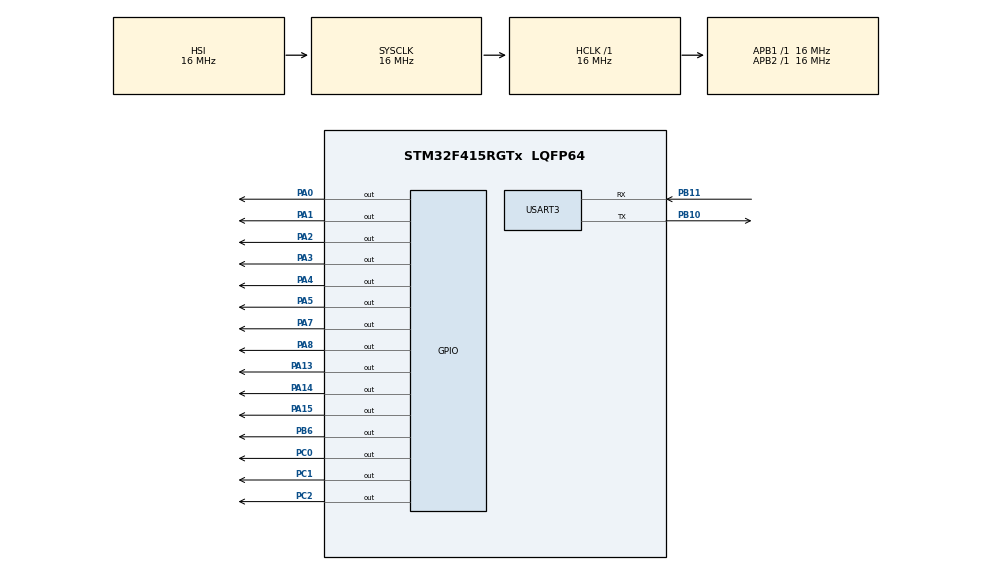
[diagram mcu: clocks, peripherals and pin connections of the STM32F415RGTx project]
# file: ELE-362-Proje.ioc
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Mcu.Family=STM32F4
Mcu.Name=STM32F415RGTx
Mcu.Package=LQFP64
NVIC.PriorityGroup=NVIC_PRIORITYGROUP_4
NVIC.USART3_IRQn=true\:0\:0\:false\:false\:true\:true\:true\:true
PA0-WKUP.Signal=GPIO_Output
PA1.Signal=GPIO_Output
PA13.Signal=GPIO_Output
PA14.Signal=GPIO_Output
PA15.Signal=GPIO_Output
PA2.Signal=GPIO_Output
PA3.Signal=GPIO_Output
PA4.Signal=GPIO_Output
PA5.Signal=GPIO_Output
PA7.Signal=GPIO_Output
PA8.Signal=GPIO_Output
PB10.Mode=Asynchronous
PB10.Signal=USART3_TX
PB11.Mode=Asynchronous
PB11.Signal=USART3_RX
PB6.Signal=GPIO_Output
PC0.Signal=GPIO_Output
PC1.Signal=GPIO_Output
PC2.Signal=GPIO_Output
ProjectManager.HeapSize=0x200
ProjectManager.StackSize=0x400
ProjectManager.TargetToolchain=MDK-ARM V5.27
RCC.AHBFreq_Value=16000000
RCC.APB1Freq_Value=16000000
RCC.APB2Freq_Value=16000000
RCC.CortexFreq_Value=16000000
RCC.HSE_VALUE=25000000
RCC.HSI_VALUE=16000000
RCC.LSE_VALUE=32768
RCC.SYSCLKFreq_VALUE=16000000
RCC.VCOOutputFreq_Value=192000000
USART3.VirtualMode=VM_ASYNC
board=custom

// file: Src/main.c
/* USER CODE BEGIN Header */
/**
  ******************************************************************************
  * @file           : main.c
  * @brief          : Main program body
  ******************************************************************************
  * @attention
  *
  * Copyright (c) 2023 STMicroelectronics.
  * All rights reserved.
  *
  * This software is licensed under terms that can be found in the LICENSE file
  * in the root directory of this software component.
  * If no LICENSE file comes with this software, it is provided AS-IS.
  *
  ******************************************************************************
  */
/* USER CODE END Header */
#include "main.h"
#include "dwt_delay.h"
#include "Nokia_5110.h"
#include "circular_buffer.h"
#include <stdio.h>
#include <stdbool.h>
#include <string.h>

/* USER CODE BEGIN PTD */
typedef enum{
    STATE_HEADER,
    STATE_LENGTH1,
    STATE_LENGTH2,
    STATE_ID,
    STATE_DATA,
    STATE_FINISH,
    STATE_CHECKSUM,
		STATE_ERROR,
    STATE_DONE
} State;

union FloatConverter {
  float f;
  struct {
    uint8_t b3;
    uint8_t b2;
    uint8_t b1;
    uint8_t b0;
  } bytes;
};
/* USER CODE END PTD */

/* USER CODE BEGIN PD */
#define BUFFER_SIZE 64
/* USER CODE END PD */

UART_HandleTypeDef huart3;

/* USER CODE BEGIN PV */
State currentState = STATE_HEADER;

CircularBuffer circularBuffer;
uint8_t bufferArray[BUFFER_SIZE];

uint8_t length1;
uint8_t length2;
uint16_t length;

uint8_t recieved;

uint8_t id;
uint16_t checkSumTotal;
uint32_t index;
/* USER CODE END PV */

void SystemClock_Config(void);
static void MX_GPIO_Init(void);
static void MX_USART3_UART_Init(void);

_Bool checkSum(CircularBuffer *ptr);
void clearBuffer(CircularBuffer *ptr);

void toggleLEDs(CircularBuffer *ptr);
void printToGLCD(CircularBuffer *ptr);
void arithmeticCommandTransmit(CircularBuffer *ptr, uint8_t id);

int main(void)
{

  /* MCU Configuration--------------------------------------------------------*/

  /* Reset of all peripherals, Initializes the Flash interface and the Systick. */
  HAL_Init();

  /* Configure the system clock */
  SystemClock_Config();

  /* Initialize all configured peripherals */
  MX_GPIO_Init();
  MX_USART3_UART_Init();
  /* USER CODE BEGIN 2 */
	DWT_Init();
	NOKIA_Init();

	arrangeCircularBuffer(&circularBuffer, bufferArray, BUFFER_SIZE);
	HAL_UART_Receive_IT(&huart3, &recieved, 1);
  /* USER CODE END 2 */

  /* Infinite loop */
  while (1)
  {

  }
}

void SystemClock_Config(void)
{
  RCC_OscInitTypeDef RCC_OscInitStruct = {0};
  RCC_ClkInitTypeDef RCC_ClkInitStruct = {0};

  /** Configure the main internal regulator output voltage
  */
  __HAL_RCC_PWR_CLK_ENABLE();
  __HAL_PWR_VOLTAGESCALING_CONFIG(PWR_REGULATOR_VOLTAGE_SCALE1);

  /** Initializes the RCC Oscillators according to the specified parameters
  * in the RCC_OscInitTypeDef structure.
  */
  RCC_OscInitStruct.OscillatorType = RCC_OSCILLATORTYPE_HSI;
  RCC_OscInitStruct.HSIState = RCC_HSI_ON;
  RCC_OscInitStruct.HSICalibrationValue = RCC_HSICALIBRATION_DEFAULT;
  RCC_OscInitStruct.PLL.PLLState = RCC_PLL_NONE;
  if (HAL_RCC_OscConfig(&RCC_OscInitStruct) != HAL_OK)
  {
    Error_Handler();
  }

  /** Initializes the CPU, AHB and APB buses clocks
  */
  RCC_ClkInitStruct.ClockType = RCC_CLOCKTYPE_HCLK|RCC_CLOCKTYPE_SYSCLK
                              |RCC_CLOCKTYPE_PCLK1|RCC_CLOCKTYPE_PCLK2;
  RCC_ClkInitStruct.SYSCLKSource = RCC_SYSCLKSOURCE_HSI;
  RCC_ClkInitStruct.AHBCLKDivider = RCC_SYSCLK_DIV1;
  RCC_ClkInitStruct.APB1CLKDivider = RCC_HCLK_DIV1;
  RCC_ClkInitStruct.APB2CLKDivider = RCC_HCLK_DIV1;

  if (HAL_RCC_ClockConfig(&RCC_ClkInitStruct, FLASH_LATENCY_0) != HAL_OK)
  {
    Error_Handler();
  }
}

static void MX_USART3_UART_Init(void)
{

  huart3.Instance = USART3;
  huart3.Init.BaudRate = 115200;
  huart3.Init.WordLength = UART_WORDLENGTH_8B;
  huart3.Init.StopBits = UART_STOPBITS_1;
  huart3.Init.Parity = UART_PARITY_NONE;
  huart3.Init.Mode = UART_MODE_TX_RX;
  huart3.Init.HwFlowCtl = UART_HWCONTROL_NONE;
  huart3.Init.OverSampling = UART_OVERSAMPLING_16;
  if (HAL_UART_Init(&huart3) != HAL_OK)
  {
    Error_Handler();
  }

}

static void MX_GPIO_Init(void)
{
  GPIO_InitTypeDef GPIO_InitStruct = {0};

  /* GPIO Ports Clock Enable */
  __HAL_RCC_GPIOC_CLK_ENABLE();
  __HAL_RCC_GPIOA_CLK_ENABLE();
  __HAL_RCC_GPIOB_CLK_ENABLE();

  /*Configure GPIO pin Output Level */
  HAL_GPIO_WritePin(GPIOC, GPIO_PIN_0|GPIO_PIN_1|GPIO_PIN_2, GPIO_PIN_RESET);

  /*Configure GPIO pin Output Level */
  HAL_GPIO_WritePin(GPIOA, GPIO_PIN_0|GPIO_PIN_1|GPIO_PIN_2|GPIO_PIN_3
                          |GPIO_PIN_4|GPIO_PIN_5|GPIO_PIN_7|GPIO_PIN_8
                          |GPIO_PIN_13|GPIO_PIN_14|GPIO_PIN_15, GPIO_PIN_RESET);

  /*Configure GPIO pin Output Level */
  HAL_GPIO_WritePin(GPIOB, GPIO_PIN_6, GPIO_PIN_RESET);

  /*Configure GPIO pins : PC0 PC1 PC2 */
  GPIO_InitStruct.Pin = GPIO_PIN_0|GPIO_PIN_1|GPIO_PIN_2;
  GPIO_InitStruct.Mode = GPIO_MODE_OUTPUT_PP;
  GPIO_InitStruct.Pull = GPIO_NOPULL;
  GPIO_InitStruct.Speed = GPIO_SPEED_FREQ_LOW;
  HAL_GPIO_Init(GPIOC, &GPIO_InitStruct);

  /*Configure GPIO pins : PA0 PA1 PA2 PA3
                           PA4 PA5 PA7 PA8
                           PA13 PA14 PA15 */
  GPIO_InitStruct.Pin = GPIO_PIN_0|GPIO_PIN_1|GPIO_PIN_2|GPIO_PIN_3
                          |GPIO_PIN_4|GPIO_PIN_5|GPIO_PIN_7|GPIO_PIN_8
                          |GPIO_PIN_13|GPIO_PIN_14|GPIO_PIN_15;
  GPIO_InitStruct.Mode = GPIO_MODE_OUTPUT_PP;
  GPIO_InitStruct.Pull = GPIO_NOPULL;
  GPIO_InitStruct.Speed = GPIO_SPEED_FREQ_LOW;
  HAL_GPIO_Init(GPIOA, &GPIO_InitStruct);

  /*Configure GPIO pin : PB6 */
  GPIO_InitStruct.Pin = GPIO_PIN_6;
  GPIO_InitStruct.Mode = GPIO_MODE_OUTPUT_PP;
  GPIO_InitStruct.Pull = GPIO_NOPULL;
  GPIO_InitStruct.Speed = GPIO_SPEED_FREQ_LOW;
  HAL_GPIO_Init(GPIOB, &GPIO_InitStruct);

}

/* USER CODE BEGIN 4 */
void HAL_UART_RxCpltCallback(UART_HandleTypeDef *huart){
	HAL_UART_Receive_IT(&huart3, &recieved, 1);

	switch(currentState){
		case STATE_HEADER:
			length = 0;
			index = 0;
			checkSumTotal = 0;
			if(recieved == 0xAB){
				pushItemToBuff(&circularBuffer, recieved);
				currentState = STATE_LENGTH1;
				index++;
			}
			break;
		case STATE_LENGTH1:
			pushItemToBuff(&circularBuffer, recieved);
			length1 = recieved;
			currentState = STATE_LENGTH2;
			index++;
			break;
		case STATE_LENGTH2:
			pushItemToBuff(&circularBuffer, recieved);
			length2 = recieved;
			length = (length1 << 8) | length2;
			currentState = STATE_ID;
			index++;
			break;
		case STATE_ID:
			pushItemToBuff(&circularBuffer, recieved);
			id = recieved;
			currentState = STATE_DATA;
			index++;
			break;
		case STATE_DATA:
			pushItemToBuff(&circularBuffer, recieved);
			index++;
			if(index == 4 + length){
				currentState = STATE_FINISH;
			}
			break;
		case STATE_FINISH:
			pushItemToBuff(&circularBuffer, recieved);
			index++;
			if(recieved == 0xBA){
				currentState = STATE_CHECKSUM;
			} else {
				currentState = STATE_ERROR;
			}
			break;
		case STATE_CHECKSUM:
			pushItemToBuff(&circularBuffer, recieved);
			if(checkSum(&circularBuffer)){
				currentState = STATE_DONE;
			} else {
				currentState = STATE_ERROR;
			}
			index++;
			break;
		case STATE_ERROR:
			currentState = STATE_HEADER;
			clearBuffer(&circularBuffer);
			break;
		case STATE_DONE:
			if(id == 0x01){
				toggleLEDs(&circularBuffer);
			} else if(id == 0x02){
				printToGLCD(&circularBuffer);
			} else {
				arithmeticCommandTransmit(&circularBuffer, id);
			}
			currentState = STATE_HEADER;
			clearBuffer(&circularBuffer);
			break;
	}
}

_Bool checkSum(CircularBuffer *ptr){
	uint8_t item;
  uint8_t index;

	for (index = 0; index < length + 3; index++){
		pickItemFromBuff(ptr, &item, index + 3);

    if (index + 3 != length + 4){
			checkSumTotal += item;
    }
	}
	return ((((checkSumTotal >> 8)+checkSumTotal)&0xFF) == 0xFF);
}

void toggleLEDs(CircularBuffer *ptr){
  uint8_t dataLEDs;
  uint8_t durationLEDs;

	pickItemFromBuff(ptr, &dataLEDs, 4);
  pickItemFromBuff(ptr, &durationLEDs, 5);

  HAL_GPIO_WritePin(GPIOC, GPIO_PIN_2, (dataLEDs & 0x01) ? GPIO_PIN_SET : GPIO_PIN_RESET);
  HAL_GPIO_WritePin(GPIOC, GPIO_PIN_0, (dataLEDs & 0x02) ? GPIO_PIN_SET : GPIO_PIN_RESET);
  HAL_GPIO_WritePin(GPIOA, GPIO_PIN_2, (dataLEDs & 0x04) ? GPIO_PIN_SET : GPIO_PIN_RESET);
  HAL_GPIO_WritePin(GPIOA, GPIO_PIN_0, (dataLEDs & 0x08) ? GPIO_PIN_SET : GPIO_PIN_RESET);
  HAL_GPIO_WritePin(GPIOA, GPIO_PIN_8, (dataLEDs & 0x10) ? GPIO_PIN_SET : GPIO_PIN_RESET);
  HAL_GPIO_WritePin(GPIOC, GPIO_PIN_1, (dataLEDs & 0x20) ? GPIO_PIN_SET : GPIO_PIN_RESET);
  HAL_GPIO_WritePin(GPIOA, GPIO_PIN_3, (dataLEDs & 0x40) ? GPIO_PIN_SET : GPIO_PIN_RESET);
  HAL_GPIO_WritePin(GPIOA, GPIO_PIN_1, (dataLEDs & 0x80) ? GPIO_PIN_SET : GPIO_PIN_RESET);

  DWT_Delay(durationLEDs * 1000000);

	HAL_GPIO_WritePin(GPIOC, GPIO_PIN_2, GPIO_PIN_RESET);
  HAL_GPIO_WritePin(GPIOC, GPIO_PIN_0, GPIO_PIN_RESET);
  HAL_GPIO_WritePin(GPIOA, GPIO_PIN_2, GPIO_PIN_RESET);
  HAL_GPIO_WritePin(GPIOA, GPIO_PIN_0, GPIO_PIN_RESET);
  HAL_GPIO_WritePin(GPIOA, GPIO_PIN_8, GPIO_PIN_RESET);
  HAL_GPIO_WritePin(GPIOC, GPIO_PIN_1, GPIO_PIN_RESET);
  HAL_GPIO_WritePin(GPIOA, GPIO_PIN_3, GPIO_PIN_RESET);
  HAL_GPIO_WritePin(GPIOA, GPIO_PIN_1, GPIO_PIN_RESET);
}

void printToGLCD(CircularBuffer *ptr){
	uint8_t i;
	uint8_t item;
	uint8_t row;
  uint8_t column;

	char temp[length];

  pickItemFromBuff(ptr, &item, 4);

  if (length == 1 && item == 0xFF){
		NOKIA_Clear();
	}
  else{
		pickItemFromBuff(ptr, &row, 4);

    pickItemFromBuff(ptr, &column, 5);

    for (i = 0; i < length; i++){
			pickItemFromBuff(ptr, &item, i + 4);
			temp[i] = item;
		}
		NOKIA_Out(row, column, temp);
	}
}

void arithmeticCommandTransmit(CircularBuffer *ptr, uint8_t id){
	uint8_t i, item;
  float result;
  union FloatConverter converter;

	if(id == 0x03 || id == 0x04 || id == 0x05 || id == 0x06){
		pickItemFromBuff(ptr, &item, 4);
		result = (float)item;
	} else {
		for(i=0;i<length;i++){
			pickItemFromBuff(ptr, &item, 4+i);
			HAL_UART_Transmit(&huart3, &item, 1, 10);
		}
	}

  for (i = 0; i < length - 1; i++){
		pickItemFromBuff(ptr, &item, i + 5);
    if (id == 0x03){
			result += (float)item;
    }
    else if (id == 0x04){
			result -= (float)item;
    }
    else if (id == 0x05){
			result *= (float)item;
		}
    else if (id == 0x06){
      result /= (float)item;
    }
	}

	if(id == 0x03 || id == 0x04 || id == 0x05 || id == 0x06){
		converter.f = result;
		uint32_t bigEndianValue =
      ((uint32_t)converter.bytes.b3 << 24) | ((uint32_t)converter.bytes.b2 << 16) | ((uint32_t)converter.bytes.b1 << 8) |
      ((uint32_t)converter.bytes.b0);

		HAL_UART_Transmit(&huart3, (uint8_t*)&bigEndianValue, sizeof(bigEndianValue), 30);
	}
}

void clearBuffer(CircularBuffer *ptr){
	uint8_t i;
	for(i=0;i<length+6;i++){
		deleteFromHead(ptr);
	}
}
/* USER CODE END 4 */

void Error_Handler(void)
{
  __disable_irq();
  while (1)
  {
  }
}
